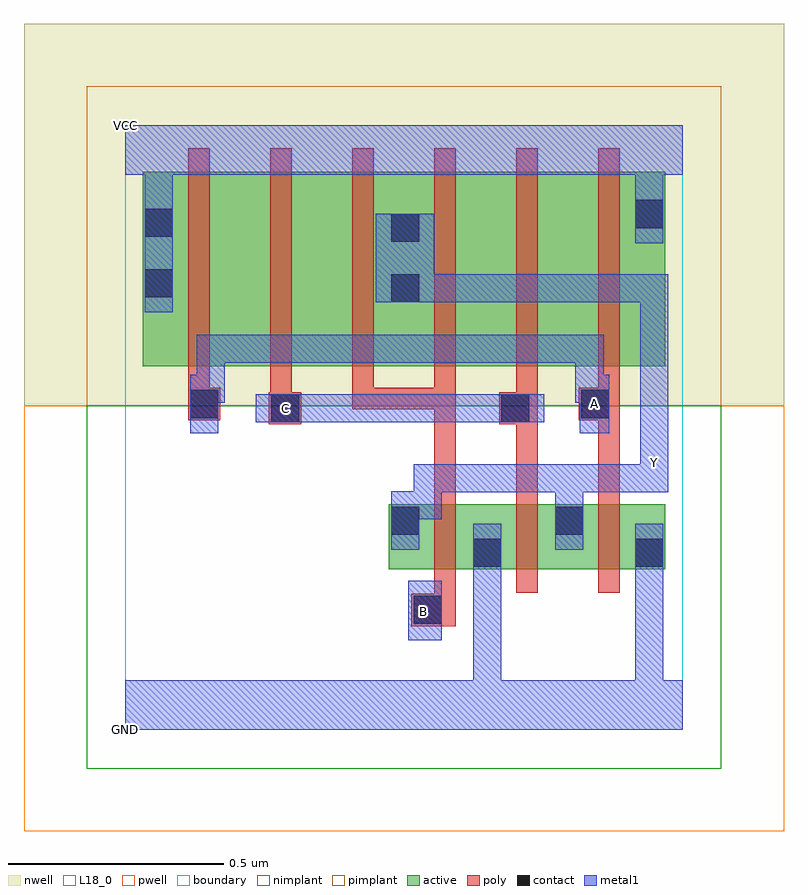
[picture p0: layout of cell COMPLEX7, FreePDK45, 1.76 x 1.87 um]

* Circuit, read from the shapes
.subckt COMPLEX7 A B C GND VCC Y
M1 GND B Y VSUBS nfet w=0.15u l=0.05u
M2 Y C GND VSUBS nfet w=0.15u l=0.05u
M3 GND A Y VSUBS nfet w=0.15u l=0.05u
M4 n1 A VCC n2 pfet w=0.45u l=0.05u
M5 n3 C n1 n2 pfet w=0.45u l=0.05u
M6 Y B n3 n2 pfet w=0.45u l=0.05u
M7 n4 B Y n2 pfet w=0.45u l=0.05u
M8 n5 C n4 n2 pfet w=0.45u l=0.05u
M9 VCC A n5 n2 pfet w=0.45u l=0.05u
.ends

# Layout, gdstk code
import gdstk
lib = gdstk.Library(unit=1e-6, precision=1e-09)
def R(c, l, rs):  # rectangles x0, y0, x1, y1
    for r in rs: c.add(gdstk.rectangle(r[:2], r[2:], *l))
def A(c, l, x, y, w, h, nx, ny, dx, dy):  # array of equal rectangles
    R(c, l, [(x+i*dx, y+j*dy, x+i*dx+w, y+j*dy+h) for i in range(nx) for j in range(ny)])
active = (1, 0)
pwell = (2, 0)
nwell = (3, 0)
nimplant = (4, 0)
pimplant = (5, 0)
poly = (9, 0)
contact = (10, 0)
metal1 = (11, 0)
L18_0 = (18, 0)
boundary = (235, 0)

complex7 = lib.new_cell('COMPLEX7')
A(complex7, active, 0.61, 0.372, 0.075, 0.15, 3, 1, 0.19, 0)
R(complex7, active, [(0.61,0.372,0.875,0.522), (0.8,0.372,1.065,0.522), (0.99,0.372,1.25,0.522), (1.175,0.372,1.25,0.522), (0.04,0.842,0.265,1.292), (0.04,0.842,0.115,1.255), (0.265,0.842,0.455,1.292), (0.455,0.842,0.685,1.292), (0.61,0.842,0.835,1.292), (0.835,0.842,1.025,1.292), (1.025,0.842,1.25,1.292), (1.175,0.842,1.25,1.292), (0.61,0.857,0.685,1.2)])
R(complex7, pwell, [(-0.235,-0.235,1.525,0.75)])
R(complex7, nwell, [(-0.235,0.75,1.525,1.635)])
R(complex7, nimplant, [(-0.09,-0.09,1.38,0.75)])
R(complex7, pimplant, [(-0.09,0.75,1.38,1.49)])
A(complex7, poly, 0.715, 0.317, 0.05, 0.26, 3, 1, 0.19, 0)
A(complex7, poly, 0.145, 0.787, 0.05, 0.56, 6, 1, 0.19, 0)
R(complex7, poly, [(0.662,0.24,0.765,0.315), (0.715,0.265,0.765,0.367), (0.715,0.527,0.765,0.792), (0.905,0.527,0.955,0.757), (1.095,0.527,1.145,0.767), (0.332,0.707,0.407,0.782), (0.865,0.707,0.955,0.782), (0.145,0.717,0.22,0.792), (1.05,0.717,1.145,0.792), (0.335,0.732,0.385,0.837), (0.905,0.732,0.955,0.837), (0.145,0.742,0.195,0.837), (0.525,0.742,0.575,0.837), (0.525,0.742,0.575,0.792), (0.525,0.742,0.765,0.792), (0.715,0.742,0.765,0.837), (0.715,0.742,0.765,0.792), (0.715,0.742,0.765,0.792), (0.715,0.742,0.765,0.792), (1.095,0.742,1.145,0.837)])
R(complex7, contact, [(0.667,0.245,0.732,0.31), (0.805,0.377,0.87,0.442), (1.18,0.377,1.245,0.442), (0.615,0.452,0.68,0.517), (0.995,0.452,1.06,0.517), (0.337,0.712,0.402,0.777), (0.87,0.712,0.935,0.777), (0.15,0.722,0.215,0.787), (1.055,0.722,1.12,0.787), (0.615,0.99,0.68,1.055), (0.045,1.002,0.11,1.067), (0.615,1.13,0.68,1.195), (0.045,1.142,0.11,1.207), (1.18,1.162,1.245,1.227)])
R(complex7, metal1, [(0,0,1.29,0.115), (0.805,0.05,0.87,0.407), (1.18,0.05,1.245,0.407), (0.655,0.207,0.732,0.345), (0.805,0.342,0.87,0.477), (0.805,0.342,0.87,0.407), (0.805,0.342,0.87,0.407), (0.805,0.342,0.87,0.407), (0.805,0.342,0.87,0.407), (0.805,0.342,0.87,0.407), (0.805,0.342,0.87,0.407), (1.18,0.342,1.245,0.477), (1.18,0.342,1.245,0.407), (1.18,0.342,1.245,0.407), (1.18,0.342,1.245,0.407), (1.18,0.342,1.245,0.407), (1.18,0.342,1.245,0.407), (1.18,0.342,1.245,0.407), (0.615,0.417,0.68,0.552), (0.995,0.417,1.06,0.615), (0.615,0.487,0.732,0.552), (0.667,0.487,0.732,0.615), (0.667,0.55,0.922,0.615), (0.857,0.55,0.922,0.615), (0.857,0.55,0.922,0.615), (0.857,0.55,0.922,0.615), (0.857,0.55,1.06,0.615), (0.995,0.55,1.257,0.615), (1.192,0.55,1.257,0.615), (1.192,0.55,1.257,0.615), (1.192,0.55,1.257,0.615), (1.192,0.55,1.257,0.615), (1.192,0.55,1.257,0.687), (1.192,0.622,1.257,1.055), (0.15,0.687,0.215,0.822), (1.052,0.687,1.12,0.822), (0.302,0.712,0.437,0.777), (0.372,0.712,0.437,0.777), (0.372,0.712,0.437,0.777), (0.372,0.712,0.575,0.777), (0.51,0.712,0.575,0.777), (0.51,0.712,0.712,0.777), (0.647,0.712,0.712,0.777), (0.647,0.712,0.712,0.777), (0.647,0.712,0.712,0.777), (0.647,0.712,0.9,0.777), (0.835,0.712,0.9,0.777), (0.835,0.712,0.9,0.777), (0.835,0.712,0.97,0.777), (0.15,0.757,0.23,0.822), (0.165,0.757,0.23,0.822), (0.165,0.757,0.23,0.915), (1.042,0.757,1.107,0.822), (1.042,0.757,1.117,0.822), (1.042,0.757,1.107,0.915), (0.165,0.85,0.23,0.915), (0.165,0.85,0.437,0.915), (0.372,0.85,0.437,0.915), (0.372,0.85,0.437,0.915), (0.372,0.85,0.437,0.915), (0.372,0.85,0.575,0.915), (0.51,0.85,0.575,0.915), (0.51,0.85,0.712,0.915), (0.647,0.85,0.712,0.915), (0.647,0.85,0.712,0.915), (0.647,0.85,0.712,0.915), (0.647,0.85,0.87,0.915), (0.805,0.85,0.87,0.915), (0.805,0.85,0.87,0.915), (0.805,0.85,0.87,0.915), (0.805,0.85,1.107,0.915), (1.042,0.85,1.107,0.915), (0.045,0.967,0.11,1.242), (0.58,0.99,0.715,1.195), (0.65,0.99,0.715,1.055), (0.65,0.99,0.715,1.055), (0.65,0.99,0.87,1.055), (0.805,0.99,0.87,1.055), (0.805,0.99,0.87,1.055), (0.805,0.99,0.87,1.055), (0.805,0.99,1.06,1.055), (0.995,0.99,1.06,1.055), (0.995,0.99,1.257,1.055), (1.192,0.99,1.257,1.055), (1.192,0.99,1.257,1.055), (1.192,0.99,1.257,1.055), (1.192,0.99,1.257,1.055), (1.192,0.99,1.257,1.055), (1.18,1.127,1.245,1.262), (0.045,1.177,0.11,1.35), (1.18,1.197,1.245,1.35), (0,1.285,1.29,1.4)])
R(complex7, L18_0, [(0,0,1.29,0.115), (0.805,0.05,0.87,0.407), (1.18,0.05,1.245,0.407), (0.655,0.207,0.732,0.345), (0.657,0.242,0.722,0.307), (0.805,0.342,0.87,0.477), (0.805,0.342,0.87,0.407), (0.805,0.342,0.87,0.407), (0.805,0.342,0.87,0.407), (0.805,0.342,0.87,0.407), (0.805,0.342,0.87,0.407), (0.805,0.342,0.87,0.407), (1.18,0.342,1.245,0.477), (1.18,0.342,1.245,0.407), (1.18,0.342,1.245,0.407), (1.18,0.342,1.245,0.407), (1.18,0.342,1.245,0.407), (1.18,0.342,1.245,0.407), (1.18,0.342,1.245,0.407), (0.615,0.417,0.68,0.552), (0.995,0.417,1.06,0.615), (0.615,0.487,0.732,0.552), (0.667,0.487,0.732,0.615), (0.667,0.55,0.922,0.615), (0.857,0.55,0.922,0.615), (0.857,0.55,0.922,0.615), (0.857,0.55,0.922,0.615), (0.857,0.55,1.06,0.615), (0.995,0.55,1.257,0.615), (1.192,0.55,1.257,0.615), (1.192,0.55,1.257,0.615), (1.192,0.55,1.257,0.615), (1.192,0.55,1.257,0.615), (1.192,0.55,1.257,0.687), (1.192,0.587,1.257,0.652), (1.192,0.622,1.257,1.055), (0.15,0.687,0.215,0.822), (1.052,0.687,1.12,0.822), (0.302,0.712,0.437,0.777), (0.337,0.712,0.402,0.777), (0.372,0.712,0.437,0.777), (0.372,0.712,0.437,0.777), (0.372,0.712,0.575,0.777), (0.51,0.712,0.575,0.777), (0.51,0.712,0.712,0.777), (0.647,0.712,0.712,0.777), (0.647,0.712,0.712,0.777), (0.647,0.712,0.712,0.777), (0.647,0.712,0.9,0.777), (0.835,0.712,0.9,0.777), (0.835,0.712,0.9,0.777), (0.835,0.712,0.97,0.777), (1.052,0.722,1.117,0.787), (0.15,0.757,0.23,0.822), (0.165,0.757,0.23,0.822), (0.165,0.757,0.23,0.915), (1.042,0.757,1.107,0.822), (1.042,0.757,1.107,0.915), (1.042,0.757,1.117,0.822), (0.165,0.85,0.23,0.915), (0.165,0.85,0.437,0.915), (0.372,0.85,0.437,0.915), (0.372,0.85,0.437,0.915), (0.372,0.85,0.437,0.915), (0.372,0.85,0.575,0.915), (0.51,0.85,0.575,0.915), (0.51,0.85,0.712,0.915), (0.647,0.85,0.712,0.915), (0.647,0.85,0.712,0.915), (0.647,0.85,0.712,0.915), (0.647,0.85,0.87,0.915), (0.805,0.85,0.87,0.915), (0.805,0.85,0.87,0.915), (0.805,0.85,0.87,0.915), (0.805,0.85,1.107,0.915), (1.042,0.85,1.107,0.915), (0.045,0.967,0.11,1.242), (0.58,0.99,0.715,1.195), (0.65,0.99,0.715,1.055), (0.65,0.99,0.715,1.055), (0.65,0.99,0.87,1.055), (0.805,0.99,0.87,1.055), (0.805,0.99,0.87,1.055), (0.805,0.99,0.87,1.055), (0.805,0.99,1.06,1.055), (0.995,0.99,1.06,1.055), (0.995,0.99,1.257,1.055), (1.192,0.99,1.257,1.055), (1.192,0.99,1.257,1.055), (1.192,0.99,1.257,1.055), (1.192,0.99,1.257,1.055), (1.192,0.99,1.257,1.055), (1.18,1.127,1.245,1.262), (0.045,1.177,0.11,1.35), (1.18,1.197,1.245,1.35), (0,1.285,1.29,1.4)])
R(complex7, boundary, [(0,0,1.29,1.4)])
complex7.add(gdstk.Label('A', (1.085,0.755), layer=11, texttype=0))
complex7.add(gdstk.Label('B', (0.69,0.275), layer=11, texttype=0))
complex7.add(gdstk.Label('C', (0.37,0.745), layer=11, texttype=0))
complex7.add(gdstk.Label('Y', (1.225,0.62), layer=11, texttype=0))
complex7.add(gdstk.Label('VCC', (0,1.4), layer=11, texttype=0))
complex7.add(gdstk.Label('GND', (0,0), layer=11, texttype=0))

lib.write_gds('COMPLEX7.gds')
